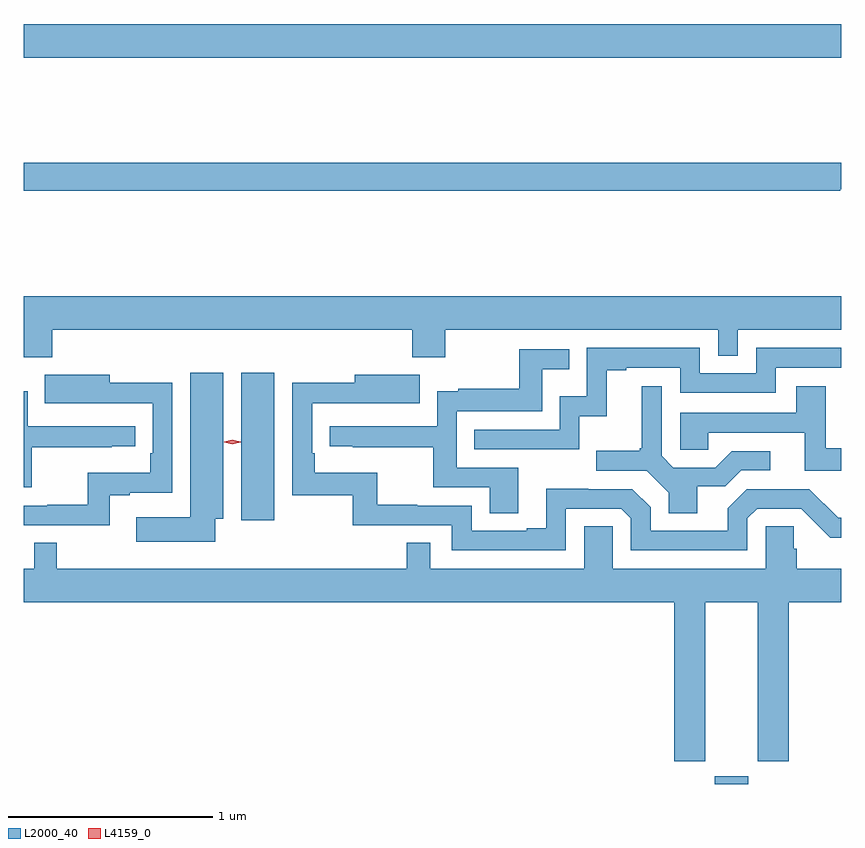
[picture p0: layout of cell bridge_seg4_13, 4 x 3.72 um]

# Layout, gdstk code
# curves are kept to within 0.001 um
import gdstk
lib = gdstk.Library(unit=1e-6, precision=1e-09)
def R(c, l, rs):  # rectangles x0, y0, x1, y1
    for r in rs: c.add(gdstk.rectangle(r[:2], r[2:], *l))
def P(c, l, *ps):  # polygons
    for p in ps: c.add(gdstk.Polygon(p, *l))
L2000_40 = (2000, 40)
L4159_0 = (4159, 0)

bridge_seg4_13 = lib.new_cell('bridge_seg4_13')
R(bridge_seg4_13, L2000_40, [(1111.172,795.93,1111.336,795.969), (1108.856,797.22,1109.017,797.941), (1107.791,799.484,1111.791,799.648)])
P(bridge_seg4_13, L2000_40, [(1111.786,798.84),(1111.791,798.84),(1111.791,798.968),(1107.791,798.968),(1107.791,798.832),(1111.786,798.832)],
  [(1107.932,798.152),(1109.693,798.152),(1109.693,798.017),(1109.853,798.017),(1109.853,798.152),(1111.188,798.152),(1111.188,798.025),(1111.284,798.025),(1111.284,798.152),(1111.791,798.152),(1111.791,798.316),(1107.791,798.316),(1107.791,798.017),(1107.932,798.017)],
  [(1110.51,797.729),(1110.643,797.729),(1110.643,797.955),(1110.739,797.955),(1110.739,797.967),(1111.002,797.967),(1111.002,797.844),(1111.47,797.844),(1111.47,797.967),(1111.791,797.967),(1111.791,798.063),(1111.374,798.063),(1111.374,797.94),(1111.098,797.94),(1111.098,798.063),(1110.546,798.063),(1110.546,797.827),(1110.414,797.827),(1110.414,797.664),(1109.995,797.664),(1109.995,797.568),(1110.51,797.568)],
  [(1110.211,797.478),(1109.91,797.478),(1109.91,797.754),(1110.327,797.754),(1110.327,797.96),(1110.461,797.96),(1110.461,798.057),(1110.216,798.057),(1110.216,797.863),(1109.917,797.863),(1109.917,797.851),(1109.814,797.851),(1109.814,797.679),(1109.289,797.679),(1109.289,797.583),(1109.401,797.583),(1109.401,797.578),(1109.794,797.578),(1109.794,797.382),(1110.071,797.382),(1110.071,797.254),(1110.211,797.254)],
  [(1108.729,797.228),(1108.768,797.228),(1108.768,797.941),(1108.607,797.941),(1108.607,797.236),(1108.341,797.236),(1108.341,797.114),(1108.729,797.114)],
  [(1110.444,797.277),(1110.714,797.277),(1110.762,797.229),(1110.762,797.073),(1111.332,797.073),(1111.332,797.229),(1111.38,797.277),(1111.596,797.277),(1111.738,797.135),(1111.791,797.135),(1111.791,797.232),(1111.776,797.232),(1111.635,797.373),(1111.329,797.373),(1111.235,797.279),(1111.235,797.169),(1110.858,797.169),(1110.858,797.283),(1110.768,797.373),(1110.552,797.373),(1110.552,797.375),(1110.347,797.375),(1110.347,797.182),(1110.251,797.182),(1110.251,797.169),(1109.982,797.169),(1109.982,797.292),(1109.717,797.292),(1109.717,797.297),(1109.521,797.297),(1109.521,797.452),(1109.216,797.452),(1109.216,797.548),(1109.202,797.548),(1109.202,797.793),(1109.729,797.792),(1109.729,797.932),(1109.411,797.932),(1109.411,797.894),(1109.106,797.894),(1109.106,797.343),(1109.4,797.343),(1109.4,797.196),(1109.886,797.196),(1109.886,797.073),(1110.444,797.073)],
  [(1108.212,797.343),(1108.309,797.343),(1108.309,797.355),(1108.518,797.355),(1108.518,797.894),(1108.213,797.894),(1108.213,797.932),(1107.895,797.932),(1107.895,797.792),(1108.109,797.792),(1108.109,797.793),(1108.422,797.793),(1108.422,797.548),(1108.409,797.548),(1108.409,797.452),(1108.104,797.452),(1108.104,797.297),(1107.907,797.297),(1107.907,797.292),(1107.791,797.292),(1107.791,797.196),(1108.212,797.196)],
  [(1111.087,797.386),(1111.222,797.386),(1111.302,797.466),(1111.444,797.466),(1111.444,797.559),(1111.256,797.559),(1111.175,797.478),(1110.969,797.478),(1110.912,797.535),(1110.912,797.875),(1110.815,797.875),(1110.815,797.572),(1110.804,797.572),(1110.804,797.56),(1110.591,797.56),(1110.591,797.463),(1110.84,797.463),(1110.947,797.356),(1110.947,797.254),(1111.087,797.254)],
  [(1111.791,797.572),(1111.715,797.572),(1111.715,797.875),(1111.571,797.875),(1111.571,797.745),(1111.002,797.745),(1111.002,797.565),(1111.139,797.565),(1111.139,797.649),(1111.613,797.649),(1111.613,797.463),(1111.791,797.463)],
  [(1107.83,797.578),(1108.223,797.578),(1108.223,797.583),(1108.336,797.583),(1108.336,797.679),(1107.81,797.679),(1107.81,797.851),(1107.791,797.851),(1107.791,797.382),(1107.83,797.382)],
  [(1111.126,796.82),(1111.382,796.82),(1111.382,796.041),(1111.535,796.041),(1111.535,796.82),(1111.791,796.82),(1111.791,796.984),(1111.574,796.984),(1111.574,797.082),(1111.559,797.082),(1111.559,797.192),(1111.422,797.192),(1111.422,796.984),(1110.672,796.984),(1110.672,797.192),(1110.533,797.192),(1110.533,796.984),(1109.781,796.984),(1109.781,797.111),(1109.665,797.111),(1109.665,796.984),(1107.952,796.984),(1107.952,797.111),(1107.843,797.111),(1107.843,796.984),(1107.791,796.984),(1107.791,796.82),(1110.974,796.82),(1110.974,796.041),(1111.126,796.041)])
P(bridge_seg4_13, L4159_0, [(1108.812,797.593),(1108.772,797.603),(1108.772,797.603),(1108.772,797.604),(1108.812,797.613),(1108.852,797.604),(1108.852,797.603),(1108.852,797.603)])

lib.write_gds('bridge_seg4_13.gds')
